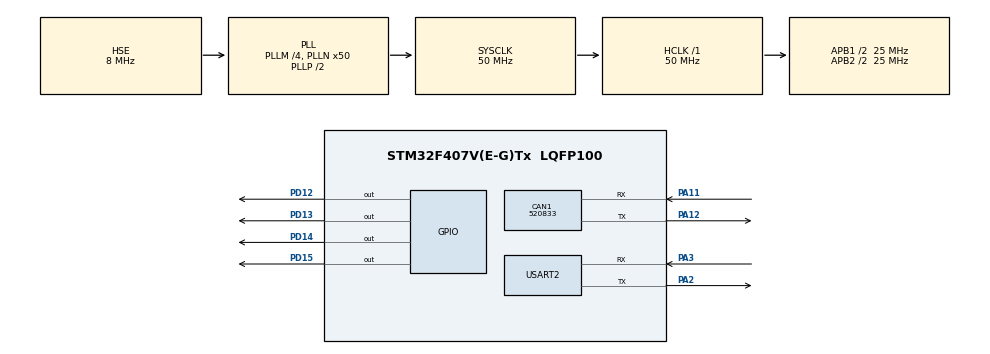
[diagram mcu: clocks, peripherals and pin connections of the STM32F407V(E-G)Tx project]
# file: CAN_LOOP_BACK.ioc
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CAN1.CalculateBaudRate=520833
CAN1.CalculateTimeBit=1920
CAN1.CalculateTimeQuantum=640.0
Mcu.Family=STM32F4
Mcu.Name=STM32F407V(E-G)Tx
Mcu.Package=LQFP100
NVIC.PriorityGroup=NVIC_PRIORITYGROUP_0
PA11.Mode=CAN_Activate
PA11.Signal=CAN1_RX
PA12.Mode=CAN_Activate
PA12.Signal=CAN1_TX
PA13.Mode=Serial_Wire
PA13.Signal=SYS_JTMS-SWDIO
PA14.Mode=Serial_Wire
PA14.Signal=SYS_JTCK-SWCLK
PA2.Mode=Asynchronous
PA2.Signal=USART2_TX
PA3.Mode=Asynchronous
PA3.Signal=USART2_RX
PD12.Signal=GPIO_Output
PD13.Signal=GPIO_Output
PD14.Signal=GPIO_Output
PD15.Signal=GPIO_Output
PH0-OSC_IN.Mode=HSE-External-Oscillator
PH0-OSC_IN.Signal=RCC_OSC_IN
PH1-OSC_OUT.Mode=HSE-External-Oscillator
PH1-OSC_OUT.Signal=RCC_OSC_OUT
ProjectManager.HeapSize=0x200
ProjectManager.StackSize=0x400
ProjectManager.TargetToolchain=STM32CubeIDE
RCC.48MHZClocksFreq_Value=14285714.285714285
RCC.AHBFreq_Value=50000000
RCC.APB1CLKDivider=RCC_HCLK_DIV2
RCC.APB1Freq_Value=25000000
RCC.APB1TimFreq_Value=50000000
RCC.APB2CLKDivider=RCC_HCLK_DIV2
RCC.APB2Freq_Value=25000000
RCC.APB2TimFreq_Value=50000000
RCC.CortexFreq_Value=50000000
RCC.HCLKFreq_Value=50000000
RCC.HSE_VALUE=8000000
RCC.HSI_VALUE=16000000
RCC.LSE_VALUE=32768
RCC.PLLM=4
RCC.PLLN=50
RCC.PLLQ=7
RCC.PLLSourceVirtual=RCC_PLLSOURCE_HSE
RCC.SYSCLKFreq_VALUE=50000000
RCC.SYSCLKSource=RCC_SYSCLKSOURCE_PLLCLK
RCC.VCOOutputFreq_Value=100000000
USART2.VirtualMode=VM_ASYNC
board=STM32F407G-DISC1

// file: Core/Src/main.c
/* USER CODE BEGIN Header */
/**
  ******************************************************************************
  * @file           : main.c
  * @brief          : Main program body
  ******************************************************************************
  * @attention
  *
  * Copyright (c) 2024 STMicroelectronics.
  * All rights reserved.
  *
  * This software is licensed under terms that can be found in the LICENSE file
  * in the root directory of this software component.
  * If no LICENSE file comes with this software, it is provided AS-IS.
  *
  ******************************************************************************
  */
/* USER CODE END Header */
#include "main.h"

/* USER CODE BEGIN Includes */
#include <stdio.h>
#include <string.h>
/* USER CODE END Includes */

CAN_HandleTypeDef hcan1;

UART_HandleTypeDef huart2;

/* USER CODE BEGIN PV */
char buff[50];
char msg[50];
/* USER CODE END PV */

void SystemClock_Config(void);
static void MX_GPIO_Init(void);
static void MX_CAN1_Init(void);
static void MX_USART2_UART_Init(void);
/* USER CODE BEGIN PFP */
void CAN1_Tx(void);
void CAN1_Rx(void);
void CAN_Filter_Config(void);
/* USER CODE END PFP */

int main(void)
{

  /* MCU Configuration--------------------------------------------------------*/

  /* Reset of all peripherals, Initializes the Flash interface and the Systick. */
  HAL_Init();

  /* Configure the system clock */
  SystemClock_Config();

  /* Initialize all configured peripherals */
  MX_GPIO_Init();
  MX_CAN1_Init();
  CAN_Filter_Config();
  if(HAL_CAN_Start(&hcan1) != HAL_OK)
  {
	Error_Handler();
  }
  MX_USART2_UART_Init();
  CAN1_Tx();
  CAN1_Rx();

  /* Infinite loop */
  while (1)
  {

  }
}

void SystemClock_Config(void)
{
  RCC_OscInitTypeDef RCC_OscInitStruct = {0};
  RCC_ClkInitTypeDef RCC_ClkInitStruct = {0};

  /** Configure the main internal regulator output voltage
  */
  __HAL_RCC_PWR_CLK_ENABLE();
  __HAL_PWR_VOLTAGESCALING_CONFIG(PWR_REGULATOR_VOLTAGE_SCALE1);

  /** Initializes the RCC Oscillators according to the specified parameters
  * in the RCC_OscInitTypeDef structure.
  */
  RCC_OscInitStruct.OscillatorType = RCC_OSCILLATORTYPE_HSE;
  RCC_OscInitStruct.HSEState = RCC_HSE_ON;
  RCC_OscInitStruct.PLL.PLLState = RCC_PLL_ON;
  RCC_OscInitStruct.PLL.PLLSource = RCC_PLLSOURCE_HSE;
  RCC_OscInitStruct.PLL.PLLM = 4;
  RCC_OscInitStruct.PLL.PLLN = 50;
  RCC_OscInitStruct.PLL.PLLP = RCC_PLLP_DIV2;
  RCC_OscInitStruct.PLL.PLLQ = 7;
  if (HAL_RCC_OscConfig(&RCC_OscInitStruct) != HAL_OK)
  {
    Error_Handler();
  }

  /** Initializes the CPU, AHB and APB buses clocks
  */
  RCC_ClkInitStruct.ClockType = RCC_CLOCKTYPE_HCLK|RCC_CLOCKTYPE_SYSCLK
                              |RCC_CLOCKTYPE_PCLK1|RCC_CLOCKTYPE_PCLK2;
  RCC_ClkInitStruct.SYSCLKSource = RCC_SYSCLKSOURCE_PLLCLK;
  RCC_ClkInitStruct.AHBCLKDivider = RCC_SYSCLK_DIV1;
  RCC_ClkInitStruct.APB1CLKDivider = RCC_HCLK_DIV2;
  RCC_ClkInitStruct.APB2CLKDivider = RCC_HCLK_DIV2;

  if (HAL_RCC_ClockConfig(&RCC_ClkInitStruct, FLASH_LATENCY_1) != HAL_OK)
  {
    Error_Handler();
  }
}

static void MX_CAN1_Init(void)
{
  /* USER CODE BEGIN CAN1_Init 0 */
	// http://www.bittiming.can-wiki.info/
	// Configuration for 500 KBPS
  /* USER CODE END CAN1_Init 0 */

  hcan1.Instance = CAN1;
  hcan1.Init.Prescaler = 5;
  hcan1.Init.Mode = CAN_MODE_LOOPBACK;
  hcan1.Init.SyncJumpWidth = CAN_SJW_1TQ;
  hcan1.Init.TimeSeg1 = CAN_BS1_8TQ;
  hcan1.Init.TimeSeg2 = CAN_BS2_1TQ;
  hcan1.Init.TimeTriggeredMode = DISABLE;
  hcan1.Init.AutoBusOff = DISABLE;
  hcan1.Init.AutoWakeUp = DISABLE;
  hcan1.Init.AutoRetransmission = ENABLE;
  hcan1.Init.ReceiveFifoLocked = DISABLE;
  hcan1.Init.TransmitFifoPriority = DISABLE;
  if (HAL_CAN_Init(&hcan1) != HAL_OK)
  {
	Error_Handler();
  }
}

static void MX_USART2_UART_Init(void)
{

  huart2.Instance = USART2;
  huart2.Init.BaudRate = 115200;
  huart2.Init.WordLength = UART_WORDLENGTH_8B;
  huart2.Init.StopBits = UART_STOPBITS_1;
  huart2.Init.Parity = UART_PARITY_NONE;
  huart2.Init.Mode = UART_MODE_TX_RX;
  huart2.Init.HwFlowCtl = UART_HWCONTROL_NONE;
  huart2.Init.OverSampling = UART_OVERSAMPLING_16;
  if (HAL_UART_Init(&huart2) != HAL_OK)
  {
    Error_Handler();
  }

}

static void MX_GPIO_Init(void)
{
  GPIO_InitTypeDef GPIO_InitStruct = {0};

  /* GPIO Ports Clock Enable */
  __HAL_RCC_GPIOH_CLK_ENABLE();
  __HAL_RCC_GPIOA_CLK_ENABLE();
  __HAL_RCC_GPIOD_CLK_ENABLE();

  /*Configure GPIO pin Output Level */
  HAL_GPIO_WritePin(GPIOD, GPIO_PIN_12|GPIO_PIN_13|GPIO_PIN_14|GPIO_PIN_15, GPIO_PIN_RESET);

  /*Configure GPIO pins : PD12 PD13 PD14 PD15 */
  GPIO_InitStruct.Pin = GPIO_PIN_12|GPIO_PIN_13|GPIO_PIN_14|GPIO_PIN_15;
  GPIO_InitStruct.Mode = GPIO_MODE_OUTPUT_PP;
  GPIO_InitStruct.Pull = GPIO_NOPULL;
  GPIO_InitStruct.Speed = GPIO_SPEED_FREQ_LOW;
  HAL_GPIO_Init(GPIOD, &GPIO_InitStruct);

}

/* USER CODE BEGIN 4 */
void CAN1_Tx(void)
{
	CAN_TxHeaderTypeDef TxHeader;

	uint32_t TxMailbox;

	uint8_t data[] = "Hello";

	TxHeader.DLC = 6;
	TxHeader.RTR = CAN_RTR_DATA;
	TxHeader.IDE = CAN_ID_STD;
	TxHeader.StdId = 0x32F;

	if( HAL_CAN_AddTxMessage(&hcan1, &TxHeader, data, &TxMailbox) != HAL_OK)
	{
		Error_Handler();
	}

	while(HAL_CAN_IsTxMessagePending(&hcan1, TxMailbox));

	sprintf(msg, "Message Transmitted  Successfully\r\n");
	HAL_UART_Transmit(&huart2, (uint8_t *)msg, strlen(msg), HAL_MAX_DELAY);
}

void CAN1_Rx(void)
{
	CAN_RxHeaderTypeDef RxHeader;
	uint8_t rcv_data[10];

	// we will wait here for at least one message in RX FIFO0
	while(!HAL_CAN_GetRxFifoFillLevel(&hcan1, CAN_RX_FIFO0));

	if(HAL_CAN_GetRxMessage(&hcan1, CAN_RX_FIFO0, &RxHeader, rcv_data) != HAL_OK)
	{
		Error_Handler();
	}

	sprintf(msg, "Message Received Successfully : %s\r\n", rcv_data);
	HAL_UART_Transmit(&huart2, (uint8_t *)msg, strlen(msg), HAL_MAX_DELAY);
}

void CAN_Filter_Config(void)
{
  CAN_FilterTypeDef can1_filter_init;

  can1_filter_init.FilterActivation = ENABLE;
  can1_filter_init.FilterBank  = 0;
  can1_filter_init.FilterFIFOAssignment = CAN_RX_FIFO0;
  can1_filter_init.FilterIdHigh = 0x0000;
  can1_filter_init.FilterIdLow = 0x0000;
  can1_filter_init.FilterMaskIdHigh = 0x0000;
  can1_filter_init.FilterMaskIdLow = 0x0000;
  can1_filter_init.FilterMode = CAN_FILTERMODE_IDMASK;
  can1_filter_init.FilterScale = CAN_FILTERSCALE_32BIT;

  if( HAL_CAN_ConfigFilter(&hcan1,&can1_filter_init) != HAL_OK)
  {
	  Error_Handler();
  }
}

/* USER CODE END 4 */

void Error_Handler(void)
{
  __disable_irq();
  while (1)
  {
  }
}
